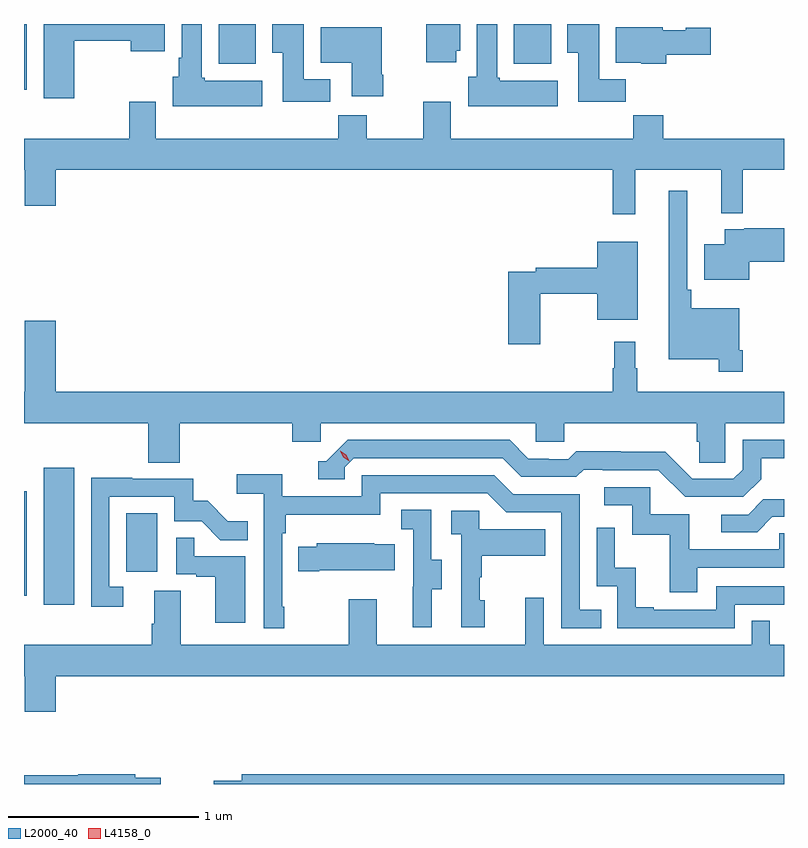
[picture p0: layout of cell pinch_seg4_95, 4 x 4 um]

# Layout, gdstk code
import gdstk
lib = gdstk.Library(unit=1e-6, precision=1e-09)
def R(c, l, rs):  # rectangles x0, y0, x1, y1
    for r in rs: c.add(gdstk.rectangle(r[:2], r[2:], *l))
def P(c, l, *ps):  # polygons
    for p in ps: c.add(gdstk.Polygon(p, *l))
L2000_40 = (2000, 40)
L4158_0 = (4158, 0)

pinch_seg4_95 = lib.new_cell('pinch_seg4_95')
R(pinch_seg4_95, L2000_40, [(1076.195,809.184,1076.356,809.905), (1076.092,809.23,1076.106,809.782), (1076.63,809.358,1076.794,809.665), (1076.092,811.894,1076.106,812.24), (1077.116,812.03,1077.313,812.24), (1078.67,812.03,1078.867,812.24)])
P(pinch_seg4_95, L2000_40, [(1076.356,812.152),(1076.654,812.152),(1076.654,812.096),(1076.833,812.096),(1076.833,812.24),(1076.195,812.24),(1076.195,811.848),(1076.356,811.848)],
  [(1078.366,812.1),(1078.387,812.1),(1078.387,812.24),(1078.208,812.24),(1078.208,812.04),(1078.366,812.04)],
  [(1077.704,811.948),(1077.565,811.948),(1077.565,812.24),(1077.398,812.24),(1077.398,812.089),(1077.455,812.089),(1077.455,811.83),(1077.704,811.83)],
  [(1079.258,811.948),(1079.119,811.948),(1079.119,812.24),(1078.952,812.24),(1078.952,812.089),(1079.009,812.089),(1079.009,811.83),(1079.258,811.83)],
  [(1077.346,811.942),(1077.042,811.942),(1077.042,811.956),(1077.028,811.956),(1077.028,812.24),(1076.921,812.24),(1076.921,812.062),(1076.906,812.062),(1076.906,811.962),(1076.876,811.962),(1076.876,811.808),(1077.346,811.808)],
  [(1078.9,811.942),(1078.596,811.942),(1078.596,811.956),(1078.582,811.956),(1078.582,812.24),(1078.475,812.24),(1078.475,811.962),(1078.43,811.962),(1078.43,811.808),(1078.9,811.808)],
  [(1077.984,811.972),(1077.976,811.972),(1077.976,812.224),(1077.653,812.224),(1077.653,812.036),(1077.818,812.036),(1077.818,811.86),(1077.984,811.86)],
  [(1079.471,812.077),(1079.707,812.077),(1079.707,812.219),(1079.574,812.219),(1079.574,812.206),(1079.454,812.206),(1079.454,812.224),(1079.207,812.224),(1079.207,812.036),(1079.34,812.036),(1079.34,812.03),(1079.471,812.03)],
  [(1079.309,811.472),(1079.762,811.472),(1079.762,811.244),(1079.874,811.244),(1079.874,811.472),(1080.092,811.472),(1080.092,811.636),(1079.456,811.636),(1079.456,811.76),(1079.299,811.76),(1079.299,811.636),(1078.339,811.636),(1078.339,811.831),(1078.192,811.831),(1078.192,811.636),(1077.897,811.636),(1077.897,811.76),(1077.745,811.76),(1077.745,811.636),(1076.785,811.636),(1076.785,811.831),(1076.645,811.831),(1076.645,811.636),(1076.092,811.636),(1076.092,811.472),(1076.096,811.472),(1076.096,811.284),(1076.26,811.284),(1076.26,811.472),(1079.191,811.472),(1079.191,811.239),(1079.309,811.239)],
  [(1079.876,810.523),(1079.856,810.523),(1079.856,810.745),(1079.603,810.745),(1079.603,810.841),(1079.583,810.841),(1079.583,811.363),(1079.486,811.363),(1079.486,810.476),(1079.748,810.476),(1079.748,810.411),(1079.876,810.411)],
  [(1079.908,810.989),(1080.092,810.989),(1080.092,811.164),(1079.884,811.164),(1079.884,811.159),(1079.78,811.159),(1079.78,811.081),(1079.672,811.081),(1079.672,810.893),(1079.908,810.893)],
  [(1078.81,810.82),(1079.108,810.82),(1079.108,810.683),(1079.323,810.683),(1079.323,811.093),(1079.108,811.093),(1079.108,810.956),(1078.786,810.956),(1078.786,810.936),(1078.64,810.936),(1078.64,810.555),(1078.81,810.555)],
  [(1076.912,810.14),(1077.503,810.14),(1077.503,810.042),(1077.654,810.042),(1077.654,810.14),(1078.785,810.14),(1078.785,810.042),(1078.935,810.042),(1078.935,810.14),(1079.633,810.14),(1079.633,810.042),(1079.647,810.042),(1079.647,809.932),(1079.784,809.932),(1079.784,810.14),(1080.092,810.14),(1080.092,810.304),(1079.32,810.304),(1079.32,810.428),(1079.308,810.428),(1079.308,810.568),(1079.199,810.568),(1079.199,810.428),(1079.191,810.428),(1079.191,810.304),(1076.26,810.304),(1076.26,810.679),(1076.096,810.679),(1076.096,810.304),(1076.092,810.304),(1076.092,810.14),(1076.747,810.14),(1076.747,809.932),(1076.912,809.932)],
  [(1079.971,809.845),(1079.971,809.955),(1080.092,809.955),(1080.092,810.051),(1079.874,810.051),(1079.874,809.895),(1079.826,809.847),(1079.61,809.847),(1079.468,809.989),(1079.232,809.989),(1079.232,809.992),(1078.999,809.992),(1078.957,809.949),(1078.854,809.949),(1078.854,809.952),(1078.747,809.952),(1078.648,810.051),(1077.795,810.051),(1077.684,809.94),(1077.641,809.94),(1077.641,809.844),(1077.78,809.844),(1077.78,809.907),(1077.828,809.955),(1078.611,809.955),(1078.71,809.856),(1078.999,809.856),(1079.038,809.895),(1079.137,809.895),(1079.137,809.892),(1079.43,809.892),(1079.571,809.751),(1079.877,809.751)],
  [(1077.463,809.173),(1077.45,809.173),(1077.45,809.561),(1077.47,809.561),(1077.47,809.657),(1077.966,809.657),(1077.966,809.769),(1078.53,809.769),(1078.629,809.67),(1078.92,809.67),(1078.92,809.061),(1079.129,809.061),(1079.129,809.157),(1079.016,809.157),(1079.016,809.766),(1078.666,809.766),(1078.567,809.865),(1077.87,809.865),(1077.87,809.754),(1077.452,809.754),(1077.452,809.87),(1077.213,809.87),(1077.213,809.768),(1077.354,809.768),(1077.354,809.061),(1077.463,809.061)],
  [(1076.614,809.277),(1076.541,809.277),(1076.541,809.751),(1076.883,809.751),(1076.883,809.622),(1077.027,809.622),(1077.125,809.524),(1077.269,809.524),(1077.269,809.623),(1077.165,809.623),(1077.058,809.73),(1076.982,809.73),(1076.982,809.847),(1076.663,809.847),(1076.663,809.852),(1076.445,809.852),(1076.445,809.172),(1076.614,809.172)],
  [(1079.635,809.379),(1080.092,809.379),(1080.092,809.559),(1080.067,809.559),(1080.067,809.475),(1079.593,809.475),(1079.593,809.661),(1079.388,809.661),(1079.388,809.802),(1079.145,809.802),(1079.145,809.706),(1079.292,809.706),(1079.292,809.553),(1079.491,809.553),(1079.491,809.25),(1079.635,809.25)],
  [(1080.031,809.646),(1080.092,809.646),(1080.092,809.738),(1079.984,809.738),(1079.904,809.658),(1079.763,809.658),(1079.763,809.565),(1079.95,809.565)],
  [(1078.237,809.266),(1078.291,809.266),(1078.291,809.421),(1078.236,809.421),(1078.236,809.684),(1078.077,809.684),(1078.077,809.581),(1078.14,809.581),(1078.14,809.277),(1078.139,809.277),(1078.139,809.064),(1078.237,809.064)],
  [(1078.516,809.208),(1078.491,809.208),(1078.491,809.327),(1078.501,809.327),(1078.501,809.441),(1078.835,809.441),(1078.835,809.581),(1078.488,809.581),(1078.488,809.679),(1078.341,809.679),(1078.341,809.555),(1078.392,809.555),(1078.392,809.064),(1078.516,809.064)],
  [(1079.832,809.184),(1080.092,809.184),(1080.092,809.28),(1079.736,809.28),(1079.736,809.157),(1079.407,809.157),(1079.407,809.17),(1079.312,809.17),(1079.312,809.378),(1079.202,809.378),(1079.202,809.59),(1079.106,809.59),(1079.106,809.28),(1079.214,809.28),(1079.214,809.061),(1079.832,809.061)],
  [(1077.256,809.439),(1076.987,809.439),(1076.987,809.537),(1076.892,809.537),(1076.892,809.343),(1076.999,809.343),(1076.999,809.331),(1077.098,809.331),(1077.098,809.088),(1077.256,809.088)],
  [(1077.646,809.366),(1078.043,809.366),(1078.043,809.503),(1077.935,809.503),(1077.935,809.506),(1077.633,809.506),(1077.633,809.488),(1077.535,809.488),(1077.535,809.359),(1077.646,809.359)],
  [(1076.26,808.808),(1080.092,808.808),(1080.092,808.972),(1080.018,808.972),(1080.018,809.099),(1079.922,809.099),(1079.922,808.972),(1078.827,808.972),(1078.827,809.221),(1078.73,809.221),(1078.73,808.972),(1077.949,808.972),(1077.949,809.212),(1077.802,809.212),(1077.802,808.972),(1076.917,808.972),(1076.917,809.258),(1076.777,809.258),(1076.777,809.084),(1076.765,809.084),(1076.765,808.972),(1076.092,808.972),(1076.092,808.808),(1076.096,808.808),(1076.096,808.62),(1076.26,808.62)],
  [(1080.092,808.292),(1077.239,808.292),(1077.239,808.256),(1077.09,808.256),(1077.09,808.24),(1080.092,808.24)],
  [(1076.812,808.272),(1076.678,808.272),(1076.678,808.292),(1076.378,808.292),(1076.378,808.285),(1076.092,808.285),(1076.092,808.24),(1076.812,808.24)])
P(pinch_seg4_95, L4158_0, [(1077.803,809.94),(1077.773,809.96),(1077.757,809.993),(1077.757,809.993),(1077.757,809.993),(1077.788,809.973),(1077.803,809.941),(1077.803,809.94)])

lib.write_gds('pinch_seg4_95.gds')
